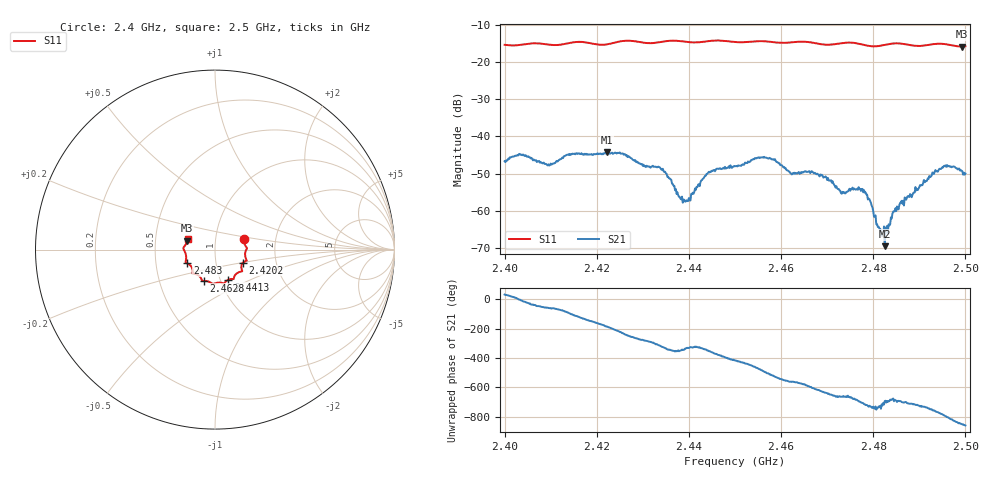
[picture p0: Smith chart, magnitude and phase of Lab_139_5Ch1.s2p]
# Hz S RI R 50
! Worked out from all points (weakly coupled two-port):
!   601 points, 2.4 GHz to 2.5 GHz, reference 50 ohm
!   highest |S21| = -44.29 dB at 2.4222 GHz (marker M1); lowest = -69.5 dB at 2.4825 GHz (marker M2)
!   lowest |S11| = -15.8 dB at 2.4993 GHz (marker M3), VSWR 1.39, Z = 36.5 + j3.7 ohm
!   |S11| at or under -10 dB: start of sweep to end of sweep
!   S12 and S22 are empty: the file has one direction only
!   S11 on the Smith chart (normalised r, x): 2.4 GHz: 1.37, +0.16; 2.4202 GHz: 1.35, -0.20; 2.4413 GHz: 1.09, -0.38; 2.4628 GHz: 0.83, -0.30; 2.483 GHz: 0.72, -0.11; 2.5 GHz: 0.73, +0.09
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2.4e9  0.1606 0.057  0.0039 0.00253  0 0  0 0
2.409833e9  0.1707 -0.00867  0.00207 -0.00355  0 0  0 0
2.416667e9  0.1762 -0.0614  -0.00355 -0.0048  0 0  0 0
2.420167e9  0.1562 -0.0728  -0.00569 -0.00175  0 0  0 0
2.422167e9  0.1473 -0.0907  -0.00608 0.000538  0 0  0 0
2.433333e9  0.1081 -0.1485  0.00258 0.00296  0 0  0 0
2.438667e9  0.096 -0.1636  0.00125 0.000325  0 0  0 0
2.441333e9  0.0744 -0.1679  0.00157 0.00124  0 0  0 0
2.4445e9  0.0541 -0.1846  0.00326 0.000382  0 0  0 0
2.45e9  0.0291 -0.1839  0.00223 -0.00328  0 0  0 0
2.456333e9  -0.0134 -0.1901  -0.00362 -0.00389  0 0  0 0
2.462833e9  -0.063 -0.1747  -0.00299 0.00128  0 0  0 0
2.466667e9  -0.0743 -0.1675  -0.00156 0.00304  0 0  0 0
2.4735e9  -0.121 -0.1342  0.000847 0.00153  0 0  0 0
2.478e9  -0.1242 -0.1163  0.00189 0.000212  0 0  0 0
2.4825e9  -0.151 -0.0788  0.000299 0.000152  0 0  0 0
2.483e9  -0.1548 -0.0768  0.000558 0.000285  0 0  0 0
2.483333e9  -0.157 -0.0758  0.000592 0.000286  0 0  0 0
2.485667e9  -0.164 -0.0693  0.00108 0.000528  0 0  0 0
2.493333e9  -0.1752 0.00252  0.0026 -0.0021  0 0  0 0
2.499333e9  -0.1542 0.0493  -0.00228 -0.00252  0 0  0 0
2.5e9  -0.1525 0.0585  -0.00241 -0.00207  0 0  0 0
